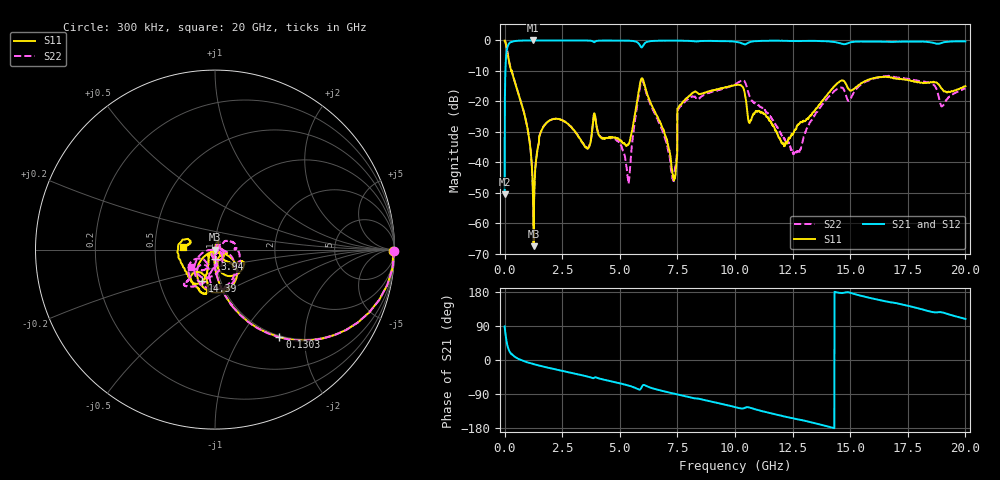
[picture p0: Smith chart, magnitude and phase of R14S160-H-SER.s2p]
!{R14S160}
!Johanson Technology Inc.
!www.johansontechnology.com
!Test Board Conditions:
!Substrate Type  RO4350B
!Substrate Thickness  20 mil
!Substrate Dk  3.66
!TL Type: GCPW
!TL Trace Width  36 mil
!TL Gap  12 mil
!Electrode orientation  Horizontal
!DUT TOPOLOGY	SERIES
!Mounting Pad LxW  26x36 mil
! Created Wed Nov 25 17:33:21 2020
! 2 Port Network Data from SP1.SP block
! freq  magS11  angS11  magS21  angS21  magS12  angS12  magS22  angS22
# khz S ma R 50
! decimated to every 10th point (10 MHz spacing) of the original 1 MHz Johanson file; values unchanged
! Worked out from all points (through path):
!   2001 points, 300 kHz to 20 GHz, reference 50 ohm
!   highest |S21| = 0.00 dB at 1.22 GHz (marker M1); lowest = -50.5 dB at 300 kHz (marker M2)
!   group delay of S21, straight-line fit = 35.7 ps
!   lowest |S11| = -67.4 dB at 1.26 GHz (marker M3), VSWR 1.00, Z = 50 + j0.0202 ohm
!   |S11| at or under -10 dB: 285.3 MHz to 294.5 MHz (9.169 MHz wide, 3.16 % of centre); 307.5 MHz to end of sweep
!   |S22| runs from -60.5 to 0.0 dB; largest |S21 - S12| = 0.017
!   S11 on the Smith chart (normalised r, x): 300 kHz: open; 130.3 MHz: 0.97, -1.50; 3.94 GHz: 0.99, -0.11; 14.39 GHz: 0.82, -0.30; 20 GHz: 0.70, +0.02
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300  0.993 -0.4  0.002997 88.6  0.002972 90.4  0.998 -0.3
130300  0.6056 -53.7  0.7932 36.2  0.7944 36.1  0.6064 -53.7
960300  0.04253 -95.7  0.9988 -5.6  0.9981 -5.6  0.04254 -95.2
1220300  0.004185 -106.0  0.9998 -10.3  0.9997 -10.3  0.004232 -93.6
1260300  0.0004248 151.6  0.9997 -10.9  0.9996 -10.9  0.0009397 1.3
1520300  0.02774 81.0  0.9985 -15.0  0.9994 -15.0  0.02773 68.3
1850300  0.04569 74.7  0.9982 -19.8  0.9978 -19.8  0.04591 64.7
3340300  0.02215 55.9  0.9977 -40.0  0.9974 -39.9  0.02206 32.7
3940300  0.05293 -91.1  0.9616 -45.6  0.9615 -45.6  0.05449 -93.7
5360300  0.01966 -68.4  0.9915 -67.1  0.9904 -67.2  0.004826 116.4
5940300  0.237 -76.2  0.7699 -72.6  0.77 -72.6  0.2175 -79.5
6670300  0.05286 -149.1  0.9892 -78.9  0.9887 -78.9  0.04767 -172.4
7350300  0.005085 -69.6  0.9938 -88.7  0.9935 -88.7  0.00597 -70.9
7600300  0.08614 -46.4  0.9895 -92.2  0.9894 -92.2  0.08039 36.9
1.00003e7  0.1856 -29.7  0.955 -124.3  0.9558 -124.3  0.1923 -53.4
1.06403e7  0.04521 -40.6  0.9378 -125.4  0.9387 -125.5  0.1194 -98.8
1.25603e7  0.03199 -132.1  0.9802 -154.5  0.9822 -154.4  0.01463 -50.7
1.33403e7  0.06246 -125.3  0.9843 -165.0  0.9858 -164.9  0.05023 -37.8
1.43903e7  0.1901 -112.0  0.9313 178.9  0.9341 178.9  0.1552 -100.1
1.66703e7  0.2511 -107.4  0.9505 153.3  0.944 153.1  0.2634 -129.8
1.90003e7  0.1583 159.1  0.9184 125.7  0.9181 125.9  0.08444 -128.6
2e7  0.1781 175.1  0.9662 108.4  0.9655 108.5  0.1652 -143.1
